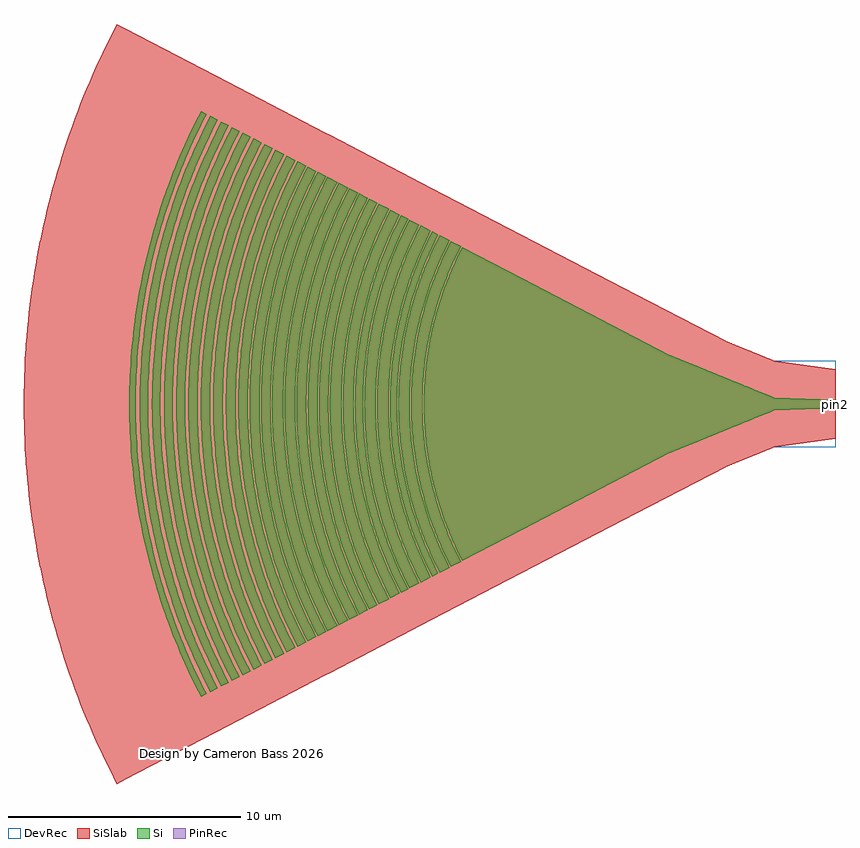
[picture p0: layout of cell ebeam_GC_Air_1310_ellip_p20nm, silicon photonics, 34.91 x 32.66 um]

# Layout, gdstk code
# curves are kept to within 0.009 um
import gdstk
lib = gdstk.Library(unit=1e-6, precision=1e-09)
def P(c, l, *ps):  # polygons
    for p in ps: c.add(gdstk.Polygon(p, *l))
Si = (1, 0)
PinRec = (1, 10)
SiSlab = (2, 0)
DevRec = (68, 0)

ebeam_gc_air_1310_ellip_ = lib.new_cell('ebeam_GC_Air_1310_ellip_p20nm')
P(ebeam_gc_air_1310_ellip_, Si, [(-16.057,-6.743),(-16.428,-5.977),(-16.803,-5.06),(-17.032,-4.39),(-17.297,-3.436),(-17.474,-2.605),(-17.601,-1.765),(-17.679,-0.919),(-17.707,0.071),(-17.679,0.919),(-17.601,1.765),(-17.474,2.606),(-17.297,3.436),(-17.032,4.39),(-16.803,5.06),(-16.428,5.977),(-16.056,6.743),(-7.115,2.088),(-3.178,0.483),(-2.885,0.375),(-2.671,0.276),(0,0.175),(0,-0.175),(-2.671,-0.276),(-2.854,-0.362),(-3.193,-0.489),(-7.115,-2.088)],
  [(-16.549,-6.998),(-16.931,-6.207),(-17.269,-5.392),(-17.558,-4.559),(-17.724,-3.995),(-17.833,-3.568),(-18.017,-2.705),(-18.148,-1.833),(-18.238,-0.808),(-18.259,0.074),(-18.229,0.955),(-18.13,1.979),(-17.99,2.85),(-17.798,3.711),(-17.558,4.559),(-17.269,5.392),(-16.931,6.207),(-16.548,6.999),(-16.11,6.771),(-16.483,6.002),(-16.809,5.214),(-17.089,4.409),(-17.322,3.588),(-17.421,3.174),(-17.532,2.616),(-17.66,1.772),(-17.747,0.782),(-17.767,0.071),(-17.747,-0.782),(-17.66,-1.772),(-17.532,-2.615),(-17.356,-3.45),(-17.131,-4.273),(-16.859,-5.081),(-16.483,-6.002),(-16.11,-6.771)],
  [(-17.03,-7.249),(-17.425,-6.431),(-17.775,-5.587),(-18.074,-4.724),(-18.359,-3.697),(-18.549,-2.803),(-18.624,-2.352),(-18.703,-1.748),(-18.778,-0.837),(-18.8,0.076),(-18.786,0.685),(-18.759,1.141),(-18.666,2.05),(-18.521,2.953),(-18.323,3.845),(-18.074,4.724),(-17.775,5.587),(-17.425,6.431),(-17.029,7.249),(-16.601,7.026),(-16.863,6.5),(-17.046,6.097),(-17.376,5.276),(-17.659,4.436),(-17.893,3.582),(-18.075,2.716),(-18.208,1.84),(-18.289,0.959),(-18.319,0.074),(-18.298,-0.811),(-18.208,-1.84),(-18.075,-2.716),(-17.893,-3.582),(-17.659,-4.436),(-17.376,-5.276),(-17.046,-6.097),(-16.863,-6.5),(-16.601,-7.026)],
  [(-17.35,-7.416),(-17.557,-7.004),(-17.817,-6.437),(-18.167,-5.57),(-18.464,-4.684),(-18.71,-3.782),(-18.904,-2.868),(-19.044,-1.943),(-19.139,-0.857),(-19.161,0.078),(-19.13,1.012),(-19.044,1.943),(-18.981,2.407),(-18.876,3.021),(-18.673,3.934),(-18.418,4.833),(-18.112,5.716),(-17.754,6.58),(-17.349,7.416),(-17.083,7.277),(-17.542,6.316),(-17.936,5.322),(-18.085,4.888),(-18.304,4.156),(-18.454,3.562),(-18.55,3.114),(-18.683,2.361),(-18.779,1.603),(-18.838,0.841),(-18.86,0.077),(-18.845,-0.688),(-18.794,-1.45),(-18.683,-2.361),(-18.55,-3.114),(-18.454,-3.563),(-18.304,-4.155),(-18.177,-4.596),(-17.987,-5.177),(-17.775,-5.751),(-17.542,-6.316),(-17.083,-7.277)],
  [(-17.846,-7.674),(-18.059,-7.248),(-18.328,-6.662),(-18.69,-5.765),(-18.998,-4.848),(-19.252,-3.915),(-19.453,-2.968),(-19.532,-2.49),(-19.616,-1.851),(-19.695,-0.887),(-19.719,0.081),(-19.686,1.048),(-19.597,2.011),(-19.453,2.968),(-19.252,3.915),(-18.998,4.848),(-18.69,5.765),(-18.455,6.366),(-18.263,6.81),(-17.845,7.674),(-17.403,7.444),(-17.809,6.605),(-18.167,5.738),(-18.476,4.851),(-18.732,3.949),(-18.84,3.492),(-18.963,2.878),(-19.103,1.95),(-19.167,1.328),(-19.199,0.86),(-19.221,0.078),(-19.199,-0.86),(-19.167,-1.328),(-19.103,-1.95),(-18.963,-2.878),(-18.769,-3.796),(-18.652,-4.251),(-18.476,-4.851),(-18.167,-5.738),(-17.809,-6.605),(-17.403,-7.444)],
  [(-18.326,-7.924),(-18.757,-7.031),(-19.018,-6.418),(-19.197,-5.953),(-19.516,-5.006),(-19.778,-4.042),(-19.985,-3.065),(-20.135,-2.076),(-20.226,-1.082),(-20.26,-0.083),(-20.236,0.916),(-20.154,1.911),(-20.014,2.9),(-19.817,3.881),(-19.654,4.526),(-19.516,5.006),(-19.197,5.953),(-18.955,6.573),(-18.757,7.032),(-18.326,7.924),(-17.9,7.703),(-18.32,6.835),(-18.512,6.389),(-18.747,5.786),(-19.057,4.866),(-19.313,3.929),(-19.513,2.978),(-19.658,2.019),(-19.748,1.052),(-19.781,0.081),(-19.757,-0.89),(-19.677,-1.858),(-19.541,-2.82),(-19.313,-3.928),(-19.057,-4.865),(-18.747,-5.786),(-18.512,-6.388),(-18.32,-6.835),(-17.9,-7.703)],
  [(-18.688,-8.112),(-19.129,-7.198),(-19.521,-6.253),(-19.856,-5.287),(-20.048,-4.633),(-20.175,-4.138),(-20.387,-3.138),(-20.54,-2.125),(-20.634,-1.107),(-20.668,-0.085),(-20.644,0.937),(-20.56,1.957),(-20.417,2.969),(-20.289,3.639),(-20.175,4.138),(-20.048,4.633),(-19.856,5.287),(-19.521,6.253),(-19.129,7.198),(-18.688,8.112),(-18.379,7.953),(-18.813,7.057),(-19.195,6.131),(-19.525,5.183),(-19.798,4.219),(-19.913,3.731),(-20.045,3.075),(-20.195,2.084),(-20.287,1.086),(-20.321,0.084),(-20.297,-0.919),(-20.232,-1.752),(-20.127,-2.581),(-19.982,-3.404),(-19.877,-3.894),(-19.713,-4.542),(-19.525,-5.183),(-19.367,-5.659),(-18.947,-6.75),(-18.673,-7.36),(-18.379,-7.952)],
  [(-19.146,-8.351),(-19.6,-7.411),(-19.876,-6.764),(-20.065,-6.274),(-20.4,-5.276),(-20.677,-4.26),(-20.895,-3.23),(-21.053,-2.188),(-21.149,-1.14),(-21.175,-0.614),(-21.185,0.088),(-21.149,1.14),(-21.109,1.665),(-21.031,2.363),(-20.863,3.403),(-20.635,4.431),(-20.348,5.444),(-20.003,6.438),(-19.6,7.411),(-19.145,8.351),(-18.742,8.141),(-19.186,7.224),(-19.389,6.752),(-19.637,6.115),(-19.965,5.142),(-20.236,4.152),(-20.447,3.148),(-20.601,2.133),(-20.695,1.112),(-20.73,0.086),(-20.705,-0.941),(-20.621,-1.964),(-20.477,-2.98),(-20.383,-3.484),(-20.236,-4.152),(-19.965,-5.142),(-19.637,-6.115),(-19.255,-7.067),(-19.043,-7.534),(-18.742,-8.141)],
  [(-19.645,-8.611),(-20.111,-7.644),(-20.527,-6.641),(-20.882,-5.615),(-21.178,-4.57),(-21.413,-3.51),(-21.586,-2.438),(-21.696,-1.356),(-21.727,-0.815),(-21.745,-0.09),(-21.719,0.995),(-21.629,2.078),(-21.478,3.153),(-21.342,3.864),(-21.221,4.395),(-20.936,5.442),(-20.712,6.131),(-20.527,6.641),(-20.111,7.644),(-19.645,8.611),(-19.2,8.38),(-19.656,7.436),(-20.06,6.46),(-20.297,5.797),(-20.459,5.294),(-20.695,4.445),(-20.922,3.414),(-21.091,2.371),(-21.169,1.671),(-21.21,1.144),(-21.246,0.088),(-21.241,-0.44),(-21.21,-1.144),(-21.113,-2.196),(-20.955,-3.24),(-20.737,-4.274),(-20.459,-5.293),(-20.24,-5.964),(-20.06,-6.46),(-19.656,-7.436),(-19.2,-8.38)],
  [(-20.06,-8.827),(-20.539,-7.834),(-20.965,-6.806),(-21.33,-5.754),(-21.489,-5.221),(-21.677,-4.504),(-21.908,-3.415),(-22.026,-2.682),(-22.096,-2.129),(-22.187,-1.02),(-22.214,0.093),(-22.196,0.835),(-22.164,1.39),(-22.051,2.498),(-21.874,3.597),(-21.633,4.684),(-21.33,5.754),(-20.965,6.806),(-20.539,7.834),(-20.059,8.827),(-19.702,8.641),(-20.171,7.67),(-20.587,6.663),(-20.945,5.634),(-21.242,4.585),(-21.477,3.521),(-21.571,2.985),(-21.673,2.265),(-21.773,1.18),(-21.81,0.091),(-21.784,-0.999),(-21.694,-2.085),(-21.626,-2.625),(-21.51,-3.342),(-21.285,-4.408),(-20.998,-5.46),(-20.651,-6.493),(-20.245,-7.503),(-20.019,-8),(-19.702,-8.641)],
  [(-20.48,-9.046),(-20.972,-8.027),(-21.409,-6.973),(-21.782,-5.896),(-21.946,-5.349),(-22.138,-4.614),(-22.375,-3.499),(-22.545,-2.371),(-22.65,-1.235),(-22.678,-0.666),(-22.689,0.095),(-22.65,1.235),(-22.588,1.993),(-22.521,2.56),(-22.34,3.686),(-22.093,4.799),(-21.782,5.896),(-21.409,6.973),(-20.972,8.027),(-20.732,8.544),(-20.479,9.046),(-20.114,8.856),(-20.596,7.859),(-21.022,6.828),(-21.388,5.773),(-21.598,5.059),(-21.738,4.517),(-21.968,3.425),(-22.135,2.321),(-22.237,1.209),(-22.275,0.093),(-22.248,-1.023),(-22.194,-1.766),(-22.135,-2.32),(-21.968,-3.425),(-21.738,-4.517),(-21.598,-5.059),(-21.388,-5.773),(-21.022,-6.827),(-20.596,-7.859),(-20.114,-8.856)],
  [(-20.915,-9.272),(-21.257,-8.58),(-21.499,-8.047),(-21.726,-7.508),(-21.936,-6.963),(-22.308,-5.856),(-22.615,-4.729),(-22.858,-3.585),(-23.033,-2.429),(-23.14,-1.265),(-23.174,-0.487),(-23.179,0.097),(-23.14,1.265),(-23.033,2.429),(-22.858,3.586),(-22.704,4.349),(-22.569,4.918),(-22.25,6.042),(-21.867,7.146),(-21.652,7.69),(-21.42,8.226),(-20.914,9.272),(-20.538,9.076),(-21.033,8.052),(-21.47,6.995),(-21.846,5.914),(-22.061,5.183),(-22.204,4.628),(-22.44,3.509),(-22.611,2.378),(-22.716,1.239),(-22.755,0.096),(-22.744,-0.667),(-22.716,-1.239),(-22.611,-2.378),(-22.44,-3.509),(-22.204,-4.628),(-22.061,-5.183),(-21.846,-5.914),(-21.47,-6.995),(-21.033,-8.052),(-20.538,-9.076)],
  [(-21.366,-9.507),(-21.717,-8.799),(-21.964,-8.252),(-22.197,-7.699),(-22.412,-7.141),(-22.794,-6.005),(-23.109,-4.849),(-23.358,-3.677),(-23.537,-2.492),(-23.647,-1.297),(-23.682,-0.499),(-23.687,0.1),(-23.676,0.7),(-23.647,1.298),(-23.537,2.491),(-23.358,3.677),(-23.109,4.849),(-22.96,5.429),(-22.735,6.196),(-22.547,6.765),(-22.342,7.328),(-21.883,8.435),(-21.631,8.979),(-21.365,9.507),(-20.968,9.3),(-21.476,8.251),(-21.924,7.168),(-22.309,6.06),(-22.529,5.311),(-22.675,4.742),(-22.917,3.595),(-23.093,2.436),(-23.2,1.27),(-23.24,0.098),(-23.212,-1.074),(-23.155,-1.854),(-23.093,-2.436),(-22.917,-3.596),(-22.675,-4.742),(-22.529,-5.311),(-22.309,-6.06),(-21.924,-7.167),(-21.476,-8.251),(-20.968,-9.3)],
  [(-21.854,-9.76),(-22.124,-9.221),(-22.466,-8.475),(-22.705,-7.908),(-22.926,-7.333),(-23.131,-6.753),(-23.318,-6.167),(-23.489,-5.575),(-23.642,-4.98),(-23.779,-4.379),(-23.897,-3.776),(-23.998,-3.168),(-24.105,-2.354),(-24.206,-1.128),(-24.235,0.103),(-24.224,0.718),(-24.194,1.333),(-24.081,2.558),(-23.998,3.168),(-23.897,3.776),(-23.779,4.379),(-23.593,5.179),(-23.258,6.363),(-22.854,7.526),(-22.627,8.098),(-22.383,8.663),(-22.124,9.221),(-21.853,9.761),(-21.419,9.535),(-21.939,8.46),(-22.177,7.908),(-22.398,7.35),(-22.793,6.214),(-23.121,5.058),(-23.26,4.473),(-23.38,3.884),(-23.572,2.697),(-23.694,1.501),(-23.729,0.901),(-23.748,0.1),(-23.719,-1.102),(-23.661,-1.901),(-23.597,-2.499),(-23.417,-3.687),(-23.169,-4.863),(-22.852,-6.023),(-22.469,-7.162),(-22.02,-8.277),(-21.772,-8.824),(-21.419,-9.535)],
  [(-22.268,-9.976),(-22.544,-9.424),(-22.809,-8.853),(-23.291,-7.691),(-23.505,-7.101),(-23.765,-6.303),(-24.096,-5.09),(-24.235,-4.476),(-24.356,-3.859),(-24.459,-3.238),(-24.544,-2.614),(-24.611,-1.989),(-24.66,-1.362),(-24.69,-0.734),(-24.702,-0.105),(-24.672,1.153),(-24.569,2.406),(-24.49,3.031),(-24.393,3.652),(-24.278,4.271),(-24.096,5.09),(-23.765,6.303),(-23.573,6.902),(-23.291,7.691),(-23.058,8.277),(-22.809,8.854),(-22.268,9.976),(-21.907,9.789),(-22.267,9.061),(-22.522,8.5),(-22.836,7.74),(-23.053,7.161),(-23.253,6.578),(-23.492,5.79),(-23.652,5.194),(-23.837,4.392),(-23.956,3.786),(-24.057,3.177),(-24.186,2.157),(-24.266,1.131),(-24.296,0.103),(-24.276,-0.925),(-24.206,-1.952),(-24.087,-2.974),(-23.878,-4.19),(-23.749,-4.794),(-23.547,-5.592),(-23.376,-6.184),(-23.121,-6.968),(-22.91,-7.547),(-22.604,-8.31),(-22.267,-9.061),(-21.907,-9.789)],
  [(-22.702,-10.202),(-22.986,-9.636),(-23.257,-9.052),(-23.512,-8.462),(-23.75,-7.864),(-23.969,-7.26),(-24.171,-6.649),(-24.413,-5.826),(-24.573,-5.204),(-24.716,-4.576),(-24.839,-3.946),(-24.945,-3.311),(-25.032,-2.674),(-25.1,-2.034),(-25.15,-1.392),(-25.181,-0.751),(-25.193,-0.107),(-25.187,0.536),(-25.162,1.179),(-25.119,1.821),(-25.057,2.46),(-24.976,3.099),(-24.877,3.734),(-24.716,4.576),(-24.573,5.204),(-24.413,5.826),(-24.234,6.445),(-23.825,7.664),(-23.594,8.263),(-23.344,8.857),(-22.986,9.636),(-22.702,10.202),(-22.324,10.006),(-22.693,9.261),(-22.954,8.687),(-23.275,7.91),(-23.496,7.319),(-23.765,6.522),(-23.945,5.918),(-24.109,5.308),(-24.298,4.489),(-24.49,3.456),(-24.633,2.414),(-24.724,1.366),(-24.755,0.736),(-24.767,0.105),(-24.747,-0.946),(-24.71,-1.576),(-24.655,-2.204),(-24.523,-3.247),(-24.34,-4.283),(-24.208,-4.9),(-24.002,-5.715),(-23.765,-6.522),(-23.566,-7.121),(-23.275,-7.91),(-22.954,-8.687),(-22.693,-9.261),(-22.324,-10.006)],
  [(-23.134,-10.427),(-23.427,-9.843),(-23.704,-9.247),(-24.208,-8.033),(-24.432,-7.416),(-24.639,-6.792),(-24.827,-6.162),(-24.997,-5.528),(-25.149,-4.889),(-25.282,-4.246),(-25.396,-3.598),(-25.491,-2.949),(-25.567,-2.296),(-25.639,-1.422),(-25.671,-0.767),(-25.683,-0.109),(-25.677,0.547),(-25.652,1.204),(-25.607,1.86),(-25.544,2.513),(-25.461,3.166),(-25.322,4.03),(-25.195,4.675),(-25.049,5.316),(-24.885,5.952),(-24.703,6.583),(-24.503,7.209),(-24.285,7.829),(-24.048,8.442),(-23.793,9.047),(-23.522,9.646),(-23.134,10.427),(-22.772,10.24),(-23.151,9.473),(-23.504,8.689),(-23.747,8.092),(-23.973,7.487),(-24.248,6.672),(-24.433,6.053),(-24.652,5.221),(-24.794,4.592),(-24.991,3.535),(-25.084,2.896),(-25.159,2.255),(-25.242,1.183),(-25.274,0.108),(-25.253,-0.968),(-25.18,-2.041),(-25.111,-2.683),(-25.024,-3.322),(-24.837,-4.381),(-24.652,-5.221),(-24.491,-5.846),(-24.312,-6.466),(-24.045,-7.284),(-23.747,-8.092),(-23.504,-8.688),(-23.151,-9.473),(-22.772,-10.239)],
  [(-23.603,-10.672),(-24.003,-9.866),(-24.281,-9.254),(-24.542,-8.634),(-24.784,-8.008),(-25.007,-7.373),(-25.212,-6.734),(-25.399,-6.088),(-25.566,-5.438),(-25.716,-4.782),(-25.845,-4.123),(-25.956,-3.459),(-26.047,-2.793),(-26.118,-2.125),(-26.17,-1.455),(-26.203,-0.784),(-26.216,0.112),(-26.203,0.784),(-26.17,1.455),(-26.118,2.126),(-26.047,2.793),(-25.956,3.46),(-25.804,4.343),(-25.669,5.001),(-25.513,5.655),(-25.339,6.304),(-25.146,6.948),(-24.935,7.586),(-24.705,8.217),(-24.457,8.842),(-24.19,9.459),(-23.906,10.069),(-23.602,10.672),(-23.23,10.478),(-23.526,9.888),(-23.894,9.089),(-24.23,8.276),(-24.462,7.658),(-24.676,7.034),(-24.933,6.191),(-25.157,5.34),(-25.302,4.697),(-25.504,3.615),(-25.653,2.525),(-25.716,1.868),(-25.761,1.21),(-25.793,0.11),(-25.772,-0.99),(-25.734,-1.648),(-25.676,-2.306),(-25.538,-3.398),(-25.346,-4.481),(-25.208,-5.127),(-24.992,-5.98),(-24.809,-6.613),(-24.536,-7.45),(-24.31,-8.071),(-23.982,-8.887),(-23.621,-9.69),(-23.23,-10.478)],
  [(-24.086,-10.923),(-24.399,-10.3),(-24.689,-9.676),(-24.962,-9.045),(-25.217,-8.406),(-25.452,-7.761),(-25.736,-6.889),(-25.927,-6.228),(-26.098,-5.563),(-26.251,-4.892),(-26.384,-4.218),(-26.497,-3.539),(-26.59,-2.857),(-26.683,-1.946),(-26.73,-1.26),(-26.756,-0.573),(-26.763,0.115),(-26.75,0.802),(-26.716,1.489),(-26.663,2.174),(-26.59,2.858),(-26.497,3.539),(-26.342,4.443),(-26.203,5.116),(-26.043,5.785),(-25.865,6.449),(-25.668,7.108),(-25.452,7.76),(-25.217,8.406),(-24.962,9.046),(-24.689,9.676),(-24.399,10.3),(-24.085,10.923),(-23.718,10.732),(-24.024,10.122),(-24.401,9.304),(-24.746,8.472),(-24.983,7.839),(-25.202,7.2),(-25.465,6.338),(-25.695,5.466),(-25.843,4.808),(-26.05,3.701),(-26.203,2.585),(-26.301,1.463),(-26.334,0.788),(-26.347,0.113),(-26.325,-1.013),(-26.285,-1.688),(-26.227,-2.361),(-26.085,-3.478),(-25.889,-4.587),(-25.695,-5.466),(-25.526,-6.121),(-25.338,-6.77),(-25.058,-7.627),(-24.827,-8.262),(-24.491,-9.097),(-24.121,-9.918),(-23.718,-10.732)],
  [(-24.556,-11.168),(-24.878,-10.528),(-25.175,-9.89),(-25.454,-9.245),(-25.714,-8.592),(-25.955,-7.932),(-26.176,-7.265),(-26.44,-6.366),(-26.616,-5.686),(-26.772,-5),(-26.908,-4.311),(-27.023,-3.617),(-27.118,-2.921),(-27.193,-2.222),(-27.248,-1.521),(-27.282,-0.82),(-27.295,-0.117),(-27.282,0.82),(-27.248,1.522),(-27.193,2.223),(-27.118,2.921),(-27.023,3.617),(-26.908,4.311),(-26.772,5),(-26.616,5.686),(-26.44,6.366),(-26.176,7.265),(-25.955,7.932),(-25.714,8.592),(-25.454,9.246),(-25.175,9.89),(-24.878,10.528),(-24.556,11.168),(-24.199,10.983),(-24.615,10.146),(-24.902,9.517),(-25.254,8.666),(-25.497,8.018),(-25.792,7.145),(-25.99,6.483),(-26.17,5.815),(-26.377,4.918),(-26.589,3.786),(-26.745,2.644),(-26.846,1.497),(-26.879,0.806),(-26.892,0.115),(-26.87,-1.036),(-26.792,-2.185),(-26.658,-3.33),(-26.551,-4.013),(-26.424,-4.692),(-26.225,-5.591),(-26.052,-6.261),(-25.792,-7.145),(-25.574,-7.801),(-25.254,-8.666),(-24.902,-9.517),(-24.615,-10.146),(-24.199,-10.983)],
  [(-25.029,-11.414),(-25.359,-10.758),(-25.663,-10.107),(-25.947,-9.448),(-26.214,-8.78),(-26.459,-8.106),(-26.685,-7.424),(-26.892,-6.735),(-27.078,-6.042),(-27.244,-5.343),(-27.39,-4.64),(-27.514,-3.933),(-27.619,-3.223),(-27.702,-2.509),(-27.765,-1.793),(-27.816,-0.838),(-27.83,-0.12),(-27.823,0.598),(-27.795,1.316),(-27.746,2.033),(-27.677,2.747),(-27.586,3.46),(-27.434,4.405),(-27.295,5.11),(-27.135,5.81),(-26.956,6.505),(-26.756,7.196),(-26.537,7.879),(-26.214,8.78),(-25.947,9.448),(-25.663,10.107),(-25.359,10.758),(-25.029,11.414),(-24.679,11.233),(-25.004,10.587),(-25.399,9.731),(-25.759,8.861),(-26.008,8.199),(-26.237,7.531),(-26.512,6.629),(-26.696,5.946),(-26.908,5.029),(-27.124,3.871),(-27.284,2.704),(-27.353,2),(-27.401,1.295),(-27.435,0.118),(-27.428,-0.589),(-27.401,-1.295),(-27.309,-2.469),(-27.161,-3.638),(-27.045,-4.335),(-26.908,-5.029),(-26.696,-5.946),(-26.512,-6.629),(-26.237,-7.531),(-26.008,-8.199),(-25.672,-9.08),(-25.399,-9.731),(-25.004,-10.587),(-24.679,-11.232)],
  [(-25.491,-11.654),(-25.828,-10.984),(-26.138,-10.319),(-26.428,-9.646),(-26.7,-8.964),(-26.951,-8.276),(-27.182,-7.58),(-27.393,-6.877),(-27.583,-6.169),(-27.805,-5.217),(-27.946,-4.498),(-28.067,-3.774),(-28.166,-3.047),(-28.244,-2.319),(-28.301,-1.587),(-28.336,-0.856),(-28.351,-0.122),(-28.336,0.856),(-28.301,1.587),(-28.244,2.319),(-28.166,3.047),(-28.067,3.774),(-27.946,4.498),(-27.805,5.217),(-27.641,5.932),(-27.458,6.642),(-27.255,7.346),(-27.031,8.044),(-26.7,8.965),(-26.428,9.646),(-26.138,10.319),(-25.828,10.984),(-25.491,11.654),(-25.153,11.479),(-25.59,10.601),(-25.889,9.944),(-26.258,9.055),(-26.512,8.378),(-26.82,7.466),(-27.027,6.774),(-27.215,6.076),(-27.382,5.374),(-27.527,4.666),(-27.653,3.956),(-27.816,2.763),(-27.886,2.044),(-27.935,1.324),(-27.97,0.121),(-27.947,-1.083),(-27.905,-1.803),(-27.842,-2.523),(-27.758,-3.24),(-27.653,-3.955),(-27.432,-5.138),(-27.273,-5.842),(-27.027,-6.774),(-26.82,-7.466),(-26.512,-8.378),(-26.258,-9.055),(-25.889,-9.944),(-25.59,-10.601),(-25.153,-11.479)],
  [(-25.956,-11.896),(-26.3,-11.212),(-26.617,-10.533),(-27.009,-9.615),(-27.279,-8.917),(-27.528,-8.211),(-27.757,-7.499),(-27.965,-6.779),(-28.151,-6.055),(-28.318,-5.325),(-28.463,-4.591),(-28.622,-3.606),(-28.716,-2.863),(-28.788,-2.119),(-28.839,-1.371),(-28.868,-0.624),(-28.875,0.125),(-28.861,0.873),(-28.825,1.62),(-28.767,2.367),(-28.687,3.111),(-28.585,3.853),(-28.463,4.591),(-28.265,5.569),(-28.092,6.297),(-27.898,7.02),(-27.683,7.737),(-27.447,8.447),(-27.191,9.151),(-26.913,9.847),(-26.617,10.533),(-26.3,11.212),(-25.955,11.897),(-25.623,11.724),(-25.963,11.049),(-26.375,10.156),(-26.751,9.247),(-27.011,8.556),(-27.25,7.859),(-27.538,6.918),(-27.729,6.206),(-27.951,5.248),(-28.176,4.04),(-28.343,2.822),(-28.415,2.087),(-28.465,1.352),(-28.501,0.123),(-28.493,-0.615),(-28.465,-1.352),(-28.369,-2.577),(-28.283,-3.309),(-28.176,-4.039),(-27.951,-5.248),(-27.788,-5.967),(-27.538,-6.917),(-27.25,-7.859),(-27.011,-8.556),(-26.66,-9.476),(-26.375,-10.155),(-26.069,-10.827),(-25.623,-11.724)],
  [(-26.415,-12.135),(-26.766,-11.437),(-27.089,-10.745),(-27.489,-9.809),(-27.674,-9.334),(-27.936,-8.617),(-28.176,-7.892),(-28.395,-7.16),(-28.593,-6.424),(-28.77,-5.68),(-28.925,-4.933),(-29.058,-4.181),(-29.168,-3.426),(-29.257,-2.667),(-29.324,-1.906),(-29.378,-0.891),(-29.393,-0.127),(-29.385,0.636),(-29.356,1.399),(-29.304,2.161),(-29.23,2.921),(-29.134,3.678),(-28.972,4.683),(-28.824,5.432),(-28.654,6.177),(-28.464,6.916),(-28.252,7.65),(-28.018,8.376),(-27.764,9.096),(-27.489,9.809),(-27.089,10.745),(-26.766,11.437),(-26.415,12.135),(-26.092,11.968),(-26.439,11.279),(-26.758,10.597),(-27.057,9.905),(-27.423,8.971),(-27.674,8.261),(-27.977,7.303),(-28.242,6.335),(-28.416,5.603),(-28.568,4.865),(-28.699,4.124),(-28.869,2.881),(-28.979,1.631),(-29.015,0.878),(-29.03,0.126),(-29.022,-0.628),(-28.993,-1.38),(-28.896,-2.631),(-28.808,-3.378),(-28.699,-4.124),(-28.568,-4.865),(-28.416,-5.603),(-28.242,-6.335),(-27.977,-7.303),(-27.674,-8.261),(-27.423,-8.97),(-27.057,-9.905),(-26.758,-10.597),(-26.439,-11.278),(-26.092,-11.968)],
  [(-26.885,-12.38),(-27.235,-11.682),(-27.565,-10.975),(-27.973,-10.019),(-28.254,-9.291),(-28.513,-8.556),(-28.751,-7.814),(-28.967,-7.064),(-29.162,-6.309),(-29.335,-5.548),(-29.485,-4.784),(-29.613,-4.014),(-29.719,-3.241),(-29.801,-2.466),(-29.862,-1.688),(-29.9,-0.91),(-29.915,-0.13),(-29.9,0.91),(-29.862,1.688),(-29.801,2.466),(-29.719,3.241),(-29.613,4.014),(-29.485,4.783),(-29.335,5.549),(-29.162,6.309),(-28.967,7.064),(-28.751,7.814),(-28.513,8.556),(-28.254,9.292),(-27.874,10.26),(-27.565,10.975),(-27.235,11.683),(-26.885,12.381),(-26.559,12.212),(-27.024,11.277),(-27.343,10.578),(-27.735,9.632),(-28.005,8.912),(-28.333,7.942),(-28.553,7.205),(-28.753,6.464),(-28.984,5.466),(-29.219,4.208),(-29.393,2.939),(-29.467,2.174),(-29.519,1.408),(-29.557,0.128),(-29.532,-1.152),(-29.487,-1.918),(-29.42,-2.684),(-29.259,-3.954),(-29.132,-4.712),(-28.984,-5.466),(-28.753,-6.463),(-28.553,-7.206),(-28.333,-7.942),(-28.005,-8.912),(-27.735,-9.632),(-27.343,-10.578),(-27.024,-11.277),(-26.559,-12.211)],
  [(-27.283,-12.588),(-27.761,-11.625),(-28.089,-10.903),(-28.396,-10.173),(-28.681,-9.435),(-28.945,-8.687),(-29.186,-7.934),(-29.406,-7.173),(-29.603,-6.407),(-29.779,-5.634),(-29.932,-4.857),(-30.062,-4.076),(-30.169,-3.291),(-30.253,-2.504),(-30.33,-1.451),(-30.36,-0.66),(-30.368,0.132),(-30.353,0.924),(-30.309,1.796),(-30.253,2.504),(-30.136,3.554),(-30.021,4.337),(-29.883,5.117),(-29.723,5.892),(-29.54,6.663),(-29.335,7.427),(-29.108,8.186),(-28.845,8.979),(-28.588,9.682),(-28.296,10.418),(-27.982,11.145),(-27.647,11.863),(-27.282,12.588),(-27.038,12.461),(-27.391,11.757),(-27.723,11.047),(-28.034,10.325),(-28.415,9.351),(-28.677,8.611),(-28.917,7.864),(-29.203,6.857),(-29.391,6.095),(-29.655,4.814),(-29.784,4.04),(-29.89,3.262),(-29.974,2.482),(-30.035,1.7),(-30.073,0.915),(-30.088,0.131),(-30.063,-1.177),(-30.017,-1.961),(-29.948,-2.742),(-29.857,-3.521),(-29.743,-4.299),(-29.607,-5.071),(-29.448,-5.84),(-29.268,-6.604),(-29.065,-7.361),(-28.839,-8.114),(-28.505,-9.105),(-28.229,-9.841),(-27.829,-10.807),(-27.504,-11.522),(-27.038,-12.461)])
P(ebeam_gc_air_1310_ellip_, SiSlab, [(-30.904,-16.329),(-31.366,-15.41),(-31.801,-14.477),(-32.208,-13.533),(-32.588,-12.577),(-32.94,-11.61),(-33.264,-10.634),(-33.559,-9.648),(-33.825,-8.655),(-34.062,-7.654),(-34.27,-6.647),(-34.449,-5.634),(-34.598,-4.616),(-34.717,-3.594),(-34.807,-2.569),(-34.867,-1.543),(-34.9,-0.171),(-34.89,0.857),(-34.85,1.885),(-34.781,2.912),(-34.681,3.935),(-34.552,4.956),(-34.393,5.972),(-34.135,7.319),(-33.907,8.322),(-33.651,9.318),(-33.365,10.307),(-33.051,11.286),(-32.709,12.256),(-32.338,13.216),(-31.94,14.164),(-31.366,15.41),(-30.904,16.329),(-4.744,2.708),(-2.65,1.855),(0,1.5),(0,-1.5),(-2.65,-1.855),(-4.728,-2.7)])
P(ebeam_gc_air_1310_ellip_, DevRec, [(-30.904,-16.329),(-31.366,-15.41),(-31.801,-14.477),(-32.208,-13.533),(-32.588,-12.577),(-32.94,-11.61),(-33.264,-10.634),(-33.559,-9.648),(-33.825,-8.655),(-34.062,-7.654),(-34.27,-6.647),(-34.449,-5.634),(-34.598,-4.616),(-34.717,-3.594),(-34.807,-2.569),(-34.867,-1.543),(-34.9,-0.171),(-34.89,0.857),(-34.85,1.885),(-34.781,2.912),(-34.681,3.935),(-34.552,4.956),(-34.393,5.972),(-34.135,7.319),(-33.907,8.322),(-33.651,9.318),(-33.365,10.307),(-33.051,11.286),(-32.709,12.256),(-32.338,13.216),(-31.94,14.164),(-31.366,15.41),(-30.904,16.329),(-4.744,2.708),(-2.65,1.855),(0,1.855),(0,-1.855),(-2.65,-1.855),(-4.728,-2.7)])
ebeam_gc_air_1310_ellip_.add(gdstk.FlexPath([(-0.01,0),(0.01,0)], 0.35, ends="flush", simple_path=True, layer=1, datatype=10))  # PinRec
ebeam_gc_air_1310_ellip_.add(gdstk.Label('pin2', (0,0), layer=1, texttype=10))
ebeam_gc_air_1310_ellip_.add(gdstk.Label('Design by Cameron Bass 2026', (-25.94,-15.02), layer=10, texttype=0))

lib.write_gds('ebeam_GC_Air_1310_ellip_p20nm.gds')
